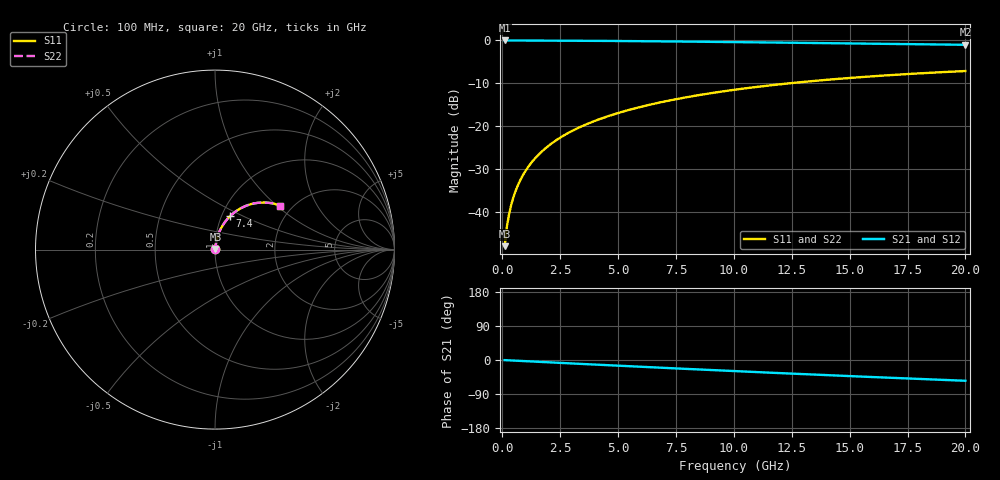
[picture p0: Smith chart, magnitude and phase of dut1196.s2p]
! Touchstone file exported from HFSS 2026.1.0
!  File:  C:/ffzhzh/LocalFiles/Ansys_Project_Files/temp_train_BSMRDL_1196_1783176394_55132.aedt
!  Generated:  10:48:01 PM Jul  4, 2026
!  Design:  BSMRDL
!  Project:  temp_train_BSMRDL_1196_1783176394_55132
! Variables:
!  h_bsmrdl = 5.28um
!  h_ox = 20um
!  h_rdl = 5um
!  h_sub = 80um
!  h_tmrdl = 5um
!  h_tsv = 80um
!  h_via = 3um
!  l_bsmrdl = 855.78um
!  l_sub = 1255.78um
!  l_tmrdl = 200um
!  m_sub = 200um
!  pitch = 58.03um
!  r_tsv = 6um
!  s_tmrdl = 10um
!  w_bsmrdl = 27.38um
!  w_sub = 500um
!  w_tmrdl = 12um
!  x_tsv_center1 = 206um
!  x_tsv_center2 = 1089.16um
!  x_tsv_center3 = 1301.16um
!  x_tsv_center4 = 2184.32um
!  x_tsv_center5 = 2396.32um
!  x_tsv_center6 = 3279.48um
# GHz S MA R 50.000000
! Terminal data exported
! Port[1] = BSM_RDL1_1_T1
! Port[2] = BSM_RDL1_1_T2
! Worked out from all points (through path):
!   200 points, 100 MHz to 20 GHz, reference 50 ohm
!   highest |S21| = -0.02 dB at 100 MHz (marker M1); lowest = -1.0 dB at 20 GHz (marker M2)
!   group delay of S21, straight-line fit = 7.61 ps
!   lowest |S11| = -48.0 dB at 100 MHz (marker M3), VSWR 1.01, Z = 50.2 + j0.324 ohm
!   |S11| at or under -10 dB: start of sweep to 12.42 GHz
!   |S22| runs from -48.0 to -7.2 dB; largest |S21 - S12| = 1e-14
!   S11 on the Smith chart (normalised r, x): 100 MHz: 1.00, +0.01; 7.4 GHz: 1.10, +0.42; 20 GHz: 1.74, +1.06
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0.1  0.003979 54.0  0.9977 -0.3  0.9977 -0.3  0.003979 54.0
! Gamma 0 0 0 0
! Port Impedance 50 0 50 0
0.2  0.006777 67.5  0.9975 -0.6  0.9975 -0.6  0.006777 67.5
0.3  0.009627 72.9  0.9973 -0.9  0.9973 -0.9  0.009627 72.9
0.4  0.01249 75.9  0.9972 -1.2  0.9972 -1.2  0.01249 75.9
0.5  0.01538 77.8  0.9971 -1.5  0.9971 -1.5  0.01538 77.8
0.7  0.02119 79.8  0.9968 -2.2  0.9968 -2.2  0.02119 79.8
0.8  0.02411 80.3  0.9967 -2.5  0.9967 -2.5  0.02411 80.3
1  0.02995 80.9  0.9964 -3.1  0.9964 -3.1  0.02995 80.9
1.2  0.0358 81.1  0.9961 -3.7  0.9961 -3.7  0.0358 81.1
1.4  0.04163 81.0  0.9958 -4.3  0.9958 -4.3  0.04163 81.0
1.7  0.05035 80.7  0.9951 -5.2  0.9951 -5.2  0.05035 80.7
2  0.05902 80.1  0.9944 -6.1  0.9944 -6.1  0.05902 80.1
2.7  0.079 78.5  0.9924 -8.2  0.9924 -8.2  0.079 78.5
3.5  0.1014 76.4  0.9896 -10.6  0.9896 -10.6  0.1014 76.4
4.2  0.1206 74.5  0.9868 -12.7  0.9868 -12.7  0.1206 74.5
5  0.142 72.3  0.9833 -15.0  0.9833 -15.0  0.142 72.3
6.8  0.1886 67.4  0.9743 -20.2  0.9743 -20.2  0.1886 67.4
7.4  0.2036 65.8  0.971 -21.9  0.971 -21.9  0.2036 65.8
10.1  0.267 58.6  0.9546 -29.5  0.9546 -29.5  0.267 58.6
13.4  0.3353 50.0  0.9322 -38.3  0.9322 -38.3  0.3353 50.0
16.7  0.3926 41.8  0.9093 -46.8  0.9093 -46.8  0.3926 41.7
20  0.4389 33.9  0.8878 -54.8  0.8878 -54.8  0.4389 33.9
